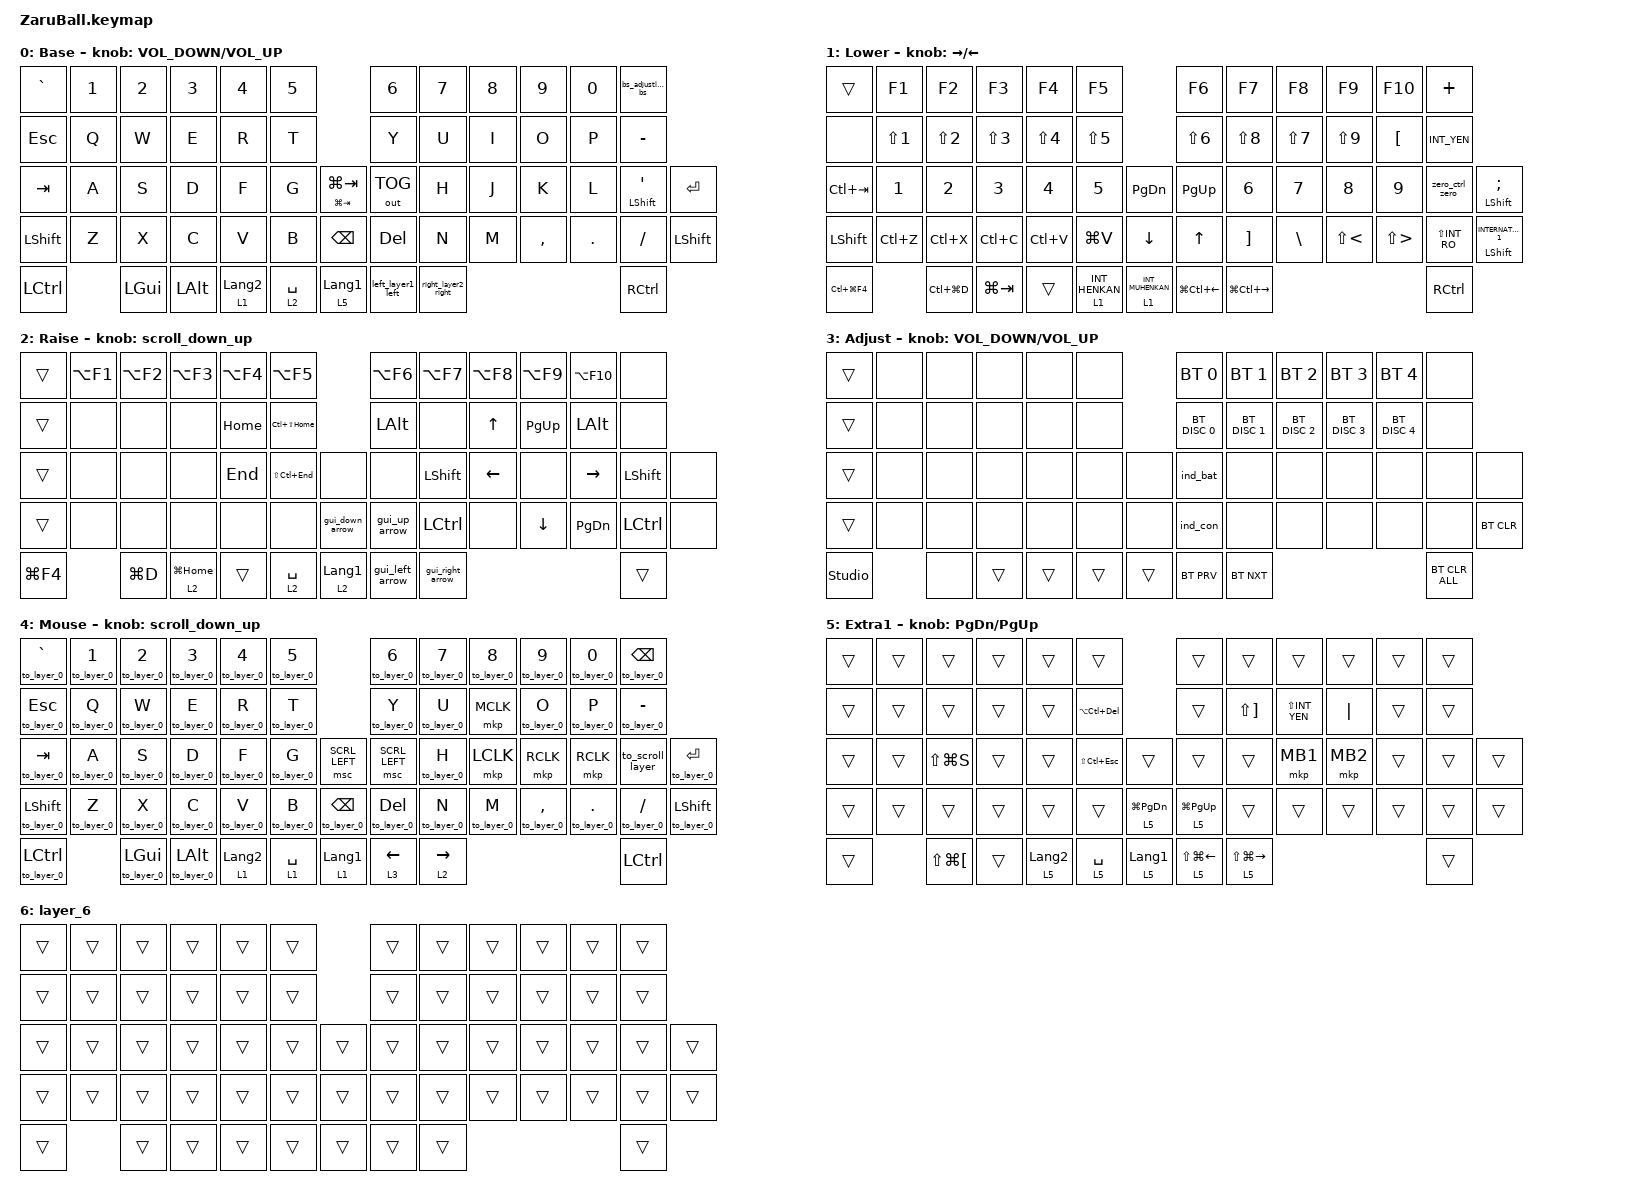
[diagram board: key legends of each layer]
//#include <dt-bindings/zmk/mouse.h>

#include <behaviors/rgbled_widget.dtsi>
#include <behaviors.dtsi>
#include <dt-bindings/zmk/bt.h>
#include <dt-bindings/zmk/keys.h>
#include <dt-bindings/zmk/outputs.h>
#include <dt-bindings/zmk/pointing.h>

#define BASE 0
#define LOWER 1
#define RAISE 2
#define ADJUST 3
#define MOUSE 4
#define SCROLL 1

/ {
    conditional_layers { compatible = "zmk,conditional-layers"; };
};

/ {
    behaviors {
        // スクロール用のbehaviorの設定

        scroll_down_up: behavior_sensor_rotate_mouse_wheel_down_up {
            compatible = "zmk,behavior-sensor-rotate";
            #sensor-binding-cells = <0>;
            bindings = <&msc SCRL_DOWN>, <&msc SCRL_UP>;

            tap-ms = <20>; // スクロールのタップ時間
        };

        td0: tap_dance_0 {
            compatible = "zmk,behavior-tap-dance";
            #binding-cells = <0>;
            tapping-term-ms = <200>;
            bindings = <&mt LALT LANG2>, <&mo RAISE>, <&mo MOUSE>;
        };

        td1: tap_dance_1 {
            compatible = "zmk,behavior-tap-dance";
            #binding-cells = <0>;
            tapping-term-ms = <200>;
            bindings = <&mt RCTL LANG1>, <&mo RAISE>, <&mo 5>;
        };

        left_layer1_left: left_layer1_left {
            compatible = "zmk,behavior-tap-dance";
            label = "LEFT_LAYER1_LEFT";
            #binding-cells = <0>;
            bindings = <&lt 1 LEFT>, <&kp LEFT>;
        };

        right_layer2_right: right_layer2_right {
            compatible = "zmk,behavior-tap-dance";
            label = "RIGHT_LAYER2_RIGHT";
            #binding-cells = <0>;
            bindings = <&lt 2 RIGHT>, <&kp RIGHT>;
        };

        bs_adjustlayer_bs: bs_adjustlayer_bs {
            compatible = "zmk,behavior-tap-dance";
            label = "BS_ADJUSTLAYER_BS";
            #binding-cells = <0>;
            bindings = <&lt 3 BACKSPACE>, <&kp BACKSPACE>;
        };

        zero_ctrl_zero: zero_ctrl_zero {
            compatible = "zmk,behavior-tap-dance";
            label = "ZERO_CTRL_ZERO";
            #binding-cells = <0>;
            bindings = <&mt RCTRL N0>, <&kp N0>;
        };
    };
};

&sl { release-after-ms = <250>; }; // time needed for double click (for mkp_exit_AML)
/ {
    macros {
        // When in AML, move to default layer when key (except mouse button) pressed

        to_layer_0: to_layer_0 {
            compatible = "zmk,behavior-macro-one-param";
            #binding-cells = <1>;
            bindings = <&to BASE &macro_param_1to1 &kp MACRO_PLACEHOLDER>;
            label = "TO_layer_0";
        };

        // When LCLK pressed, exit AML (after 250ms cause by sticky layer)

        mkp_exit_AML: mkp_exit_AML {
            compatible = "zmk,behavior-macro-one-param";
            #binding-cells = <1>;
            bindings =
                <&macro_press>,
                <&macro_param_1to1 &mkp MACRO_PLACEHOLDER>,
                <&macro_pause_for_release>,
                <&macro_release>,
                <&macro_param_1to1 &mkp MACRO_PLACEHOLDER>,
                <&macro_tap>,
                <&sl MOUSE>;

            label = "MKP_EXIT_AML";
        };

        // Support swapping into Scroll layer when AML is activated

        to_scroll_layer: to_scroll_layer {
            compatible = "zmk,behavior-macro";
            #binding-cells = <0>;
            bindings =
                <&to SCROLL>,
                <&macro_press>,
                <&mo SCROLL>,
                <&macro_pause_for_release>,
                <&macro_release>,
                <&mo SCROLL>;
        };

        gui_left_arrow: gui_left_arrow {
            compatible = "zmk,behavior-macro";
            #binding-cells = <0>;
            bindings = <&kt LEFT_GUI &kp LEFT &kt LEFT_GUI>;
            label = "GUI_LEFT_ARROW";
        };

        gui_right_arrow: gui_right_arrow {
            compatible = "zmk,behavior-macro";
            #binding-cells = <0>;
            bindings = <&kt LEFT_GUI &kp RIGHT &kt LEFT_GUI>;
            label = "GUI_RIGHT_ARROW";
        };

        gui_up_arrow: gui_up_arrow {
            compatible = "zmk,behavior-macro";
            #binding-cells = <0>;
            bindings = <&kt LEFT_GUI &kp UP_ARROW &kt LEFT_GUI>;
            label = "GUI_UP_ARROW";
        };

        gui_down_arrow: gui_down_arrow {
            compatible = "zmk,behavior-macro";
            #binding-cells = <0>;
            bindings = <&kt LEFT_GUI &kp DOWN_ARROW &kt LEFT_GUI>;
            label = "GUI_DOWN_ARROW";
        };
    };
};

/ {
    keymap {
        compatible = "zmk,keymap";

        base_layer {
            display-name = "Base";
            bindings = <
&kp GRAVE         &kp NUMBER_1  &kp NUMBER_2  &kp NUMBER_3  &kp NUMBER_4      &kp N5                            &kp NUMBER_6       &kp N7               &kp N8  &kp N9     &kp N0   &bs_adjustlayer_bs
&kp ESCAPE        &kp Q         &kp W         &kp E         &kp R             &kp T                             &kp Y              &kp U                &kp I   &kp O      &kp P    &kp MINUS
&kp TAB           &kp A         &kp S         &kp D         &kp F             &kp G        &mt LG(TAB) LG(TAB)  &out OUT_TOG       &kp H                &kp J   &kp K      &kp L    &mt LEFT_SHIFT APOS  &kp ENTER
&kp LSHFT         &kp Z         &kp X         &kp C         &kp V             &kp B        &kp BACKSPACE        &kp DELETE         &kp N                &kp M   &kp COMMA  &kp DOT  &kp FSLH             &kp LEFT_SHIFT
&kp LEFT_CONTROL                &kp LEFT_GUI  &kp LEFT_ALT  &lt 1 LANGUAGE_2  &lt 2 SPACE  &lt 5 LANGUAGE_1     &left_layer1_left  &right_layer2_right                              &kp RIGHT_CONTROL
            >;

            sensor-bindings = <&inc_dec_kp C_VOLUME_DOWN C_VOLUME_UP>;
        };

        lower_layer {
            display-name = "Lower";
            bindings = <
&trans          &kp F1            &kp F2            &kp F3            &kp F4            &kp F5                                &kp F6            &kp F7             &kp F8         &kp F9             &kp F10               &kp PLUS
&none           &kp LS(NUMBER_1)  &kp LS(NUMBER_2)  &kp LS(NUMBER_3)  &kp LS(NUMBER_4)  &kp LS(N5)                            &kp LS(NUMBER_6)  &kp LS(N8)         &kp LS(N7)     &kp LS(N9)         &kp LEFT_BRACKET      &kp INT_YEN
&kp LC(TAB)     &kp NUMBER_1      &kp NUMBER_2      &kp NUMBER_3      &kp NUMBER_4      &kp N5            &kp PAGE_DOWN       &kp PAGE_UP       &kp NUMBER_6       &kp N7         &kp N8             &kp N9                &zero_ctrl_zero    &mt LEFT_SHIFT SEMI
&kp LEFT_SHIFT  &kp LC(Z)         &kp LC(X)         &kp LC(C)         &kp LC(V)         &kp LG(V)         &kp DOWN            &kp UP_ARROW      &kp RIGHT_BRACKET  &kp BACKSLASH  &kp LS(LESS_THAN)  &kp LS(GREATER_THAN)  &kp LS(INT_RO)     &mt LEFT_SHIFT INTERNATIONAL_1
&kp LC(LG(F4))                    &kp LC(LG(D))     &kp LG(TAB)       &trans            &lt 1 INT_HENKAN  &lt 1 INT_MUHENKAN  &kp LG(LC(LEFT))  &kp LG(LC(RIGHT))                                                          &kp RIGHT_CONTROL
            >;

            sensor-bindings = <&inc_dec_kp RIGHT LEFT>;
        };

        raise_layer {
            display-name = "Raise";
            bindings = <
&trans      &kp LA(F1)  &kp LA(F2)  &kp LA(F3)      &kp LA(F4)  &kp LA(F5)                          &kp LA(F6)       &kp LA(F7)        &kp LA(F8)    &kp LA(F9)   &kp LA(F10)    &none
&trans      &none       &none       &none           &kp HOME    &kp LC(LS(HOME))                    &kp LEFT_ALT     &none             &kp UP_ARROW  &kp PAGE_UP  &kp LEFT_ALT   &none
&trans      &none       &none       &none           &kp END     &kp LS(LC(END))   &none             &none            &kp LEFT_SHIFT    &kp LEFT      &none        &kp RIGHT      &kp LEFT_SHIFT    &none
&trans      &none       &none       &none           &none       &none             &gui_down_arrow   &gui_up_arrow    &kp LCTRL         &none         &kp DOWN     &kp PAGE_DOWN  &kp LEFT_CONTROL  &none
&kp LG(F4)              &kp LG(D)   &lt 2 LG(HOME)  &trans      &lt 2 SPACE       &lt 2 LANGUAGE_1  &gui_left_arrow  &gui_right_arrow                                            &trans
            >;

            sensor-bindings = <&scroll_down_up>;
        };

        adjust_layer {
            display-name = "Adjust";
            bindings = <
&trans          &none  &none  &none   &none   &none           &bt BT_SEL 0   &bt BT_SEL 1   &bt BT_SEL 2   &bt BT_SEL 3   &bt BT_SEL 4   &none
&trans          &none  &none  &none   &none   &none           &bt BT_DISC 0  &bt BT_DISC 1  &bt BT_DISC 2  &bt BT_DISC 3  &bt BT_DISC 4  &none
&trans          &none  &none  &none   &none   &none   &none   &ind_bat       &none          &none          &none          &none          &none           &none
&trans          &none  &none  &none   &none   &none   &none   &ind_con       &none          &none          &none          &none          &none           &bt BT_CLR
&studio_unlock         &none  &trans  &trans  &trans  &trans  &bt BT_PRV     &bt BT_NXT                                                  &bt BT_CLR_ALL
            >;

            sensor-bindings = <&inc_dec_kp C_VOLUME_DOWN C_VOLUME_UP>;
        };

        mouse_layer {
            display-name = "Mouse";
            bindings = <
&to_layer_0 GRAVE         &to_layer_0 N1  &to_layer_0 N2        &to_layer_0 N3        &to_layer_0 N4    &to_layer_0 N5                         &to_layer_0 N6      &to_layer_0 N7  &to_layer_0 N8  &to_layer_0 N9     &to_layer_0 N0      &to_layer_0 BACKSPACE
&to_layer_0 ESCAPE        &to_layer_0 Q   &to_layer_0 W         &to_layer_0 E         &to_layer_0 R     &to_layer_0 T                          &to_layer_0 Y       &to_layer_0 U   &mkp MCLK       &to_layer_0 O      &to_layer_0 P       &to_layer_0 MINUS
&to_layer_0 TAB           &to_layer_0 A   &to_layer_0 S         &to_layer_0 D         &to_layer_0 F     &to_layer_0 G   &msc SCRL_LEFT         &msc SCRL_LEFT      &to_layer_0 H   &mkp LCLK       &mkp RCLK          &mkp RCLK           &to_scroll_layer       &to_layer_0 ENTER
&to_layer_0 LSHIFT        &to_layer_0 Z   &to_layer_0 X         &to_layer_0 C         &to_layer_0 V     &to_layer_0 B   &to_layer_0 BACKSPACE  &to_layer_0 DELETE  &to_layer_0 N   &to_layer_0 M   &to_layer_0 COMMA  &to_layer_0 PERIOD  &to_layer_0 SLASH      &to_layer_0 LEFT_SHIFT
&to_layer_0 LEFT_CONTROL                  &to_layer_0 LEFT_GUI  &to_layer_0 LEFT_ALT  &lt 1 LANGUAGE_2  &lt 1 SPACE     &lt 1 LANGUAGE_1       &lt 3 LEFT          &lt 2 RIGHT                                                            &kp LEFT_CONTROL
            >;

            sensor-bindings = <&scroll_down_up>;
        };

        // Extra layer can be added in ZMK STUDIO

        Extra1 {
            bindings = <
&trans  &trans  &trans                    &trans  &trans            &trans                                   &trans              &trans                 &trans           &trans    &trans  &trans
&trans  &trans  &trans                    &trans  &trans            &kp LA(LC(DELETE))                       &trans              &kp LS(RIGHT_BRACKET)  &kp LS(INT_YEN)  &kp PIPE  &trans  &trans
&trans  &trans  &kp LS(LG(S))             &trans  &trans            &kp LS(LC(ESCAPE))  &trans               &trans              &trans                 &mkp MB1         &mkp MB2  &trans  &trans  &trans
&trans  &trans  &trans                    &trans  &trans            &trans              &lt 5 LG(PAGE_DOWN)  &lt 5 LG(PAGE_UP)   &trans                 &trans           &trans    &trans  &trans  &trans
&trans          &kp LS(LG(LEFT_BRACKET))  &trans  &lt 5 LANGUAGE_2  &lt 5 SPACE         &lt 5 LANGUAGE_1     &lt 5 LS(LG(LEFT))  &lt 5 LS(LG(RIGHT))                                       &trans
            >;

            label = "Extra1";
            sensor-bindings = <&inc_dec_kp PAGE_DOWN PAGE_UP>;
        };

        layer_6 {
            bindings = <
&trans  &trans  &trans  &trans  &trans  &trans          &trans  &trans  &trans  &trans  &trans  &trans
&trans  &trans  &trans  &trans  &trans  &trans          &trans  &trans  &trans  &trans  &trans  &trans
&trans  &trans  &trans  &trans  &trans  &trans  &trans  &trans  &trans  &trans  &trans  &trans  &trans  &trans
&trans  &trans  &trans  &trans  &trans  &trans  &trans  &trans  &trans  &trans  &trans  &trans  &trans  &trans
&trans          &trans  &trans  &trans  &trans  &trans  &trans  &trans                          &trans
            >;
        };
    };
};
